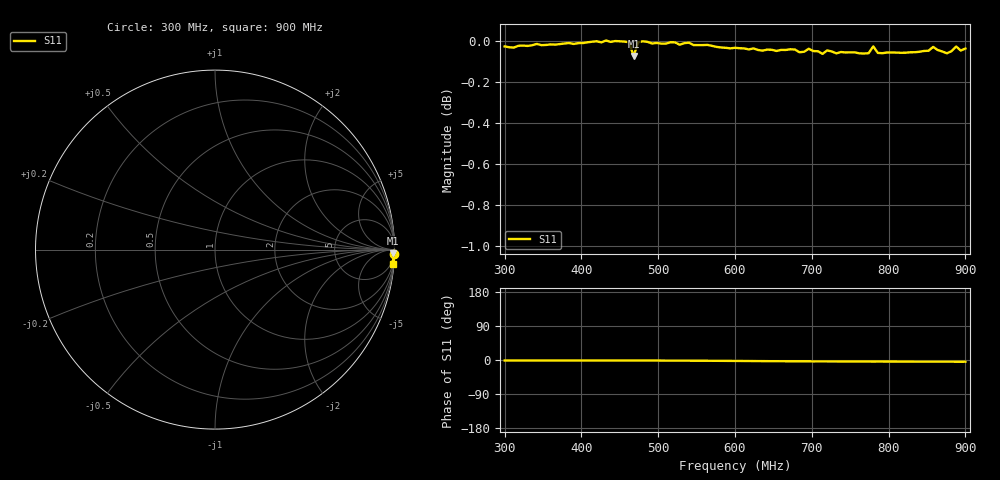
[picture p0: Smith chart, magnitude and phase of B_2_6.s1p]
# HZ S RI R 50
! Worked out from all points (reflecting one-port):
!   101 points, 300 MHz to 900 MHz, reference 50 ohm
!   lowest |S11| = -0.1 dB at 468 MHz (marker M1), VSWR 236.18, Z = 1.62e+03 - j4.06e+03 ohm
!   phase of S11 starts at -1 deg and turns -3 deg over the sweep
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3e8  0.9966 -0.0234
3.78e8  0.9982 -0.0208
4.5e8  0.9995 -0.0222
4.62e8  0.9989 -0.0232
4.68e8  0.9913 -0.021
4.74e8  0.9989 -0.0233
4.98e8  0.9985 -0.0249
5.28e8  0.9973 -0.0302
6e8  0.9952 -0.0425
6.48e8  0.9935 -0.0544
6.78e8  0.9934 -0.0588
6.84e8  0.9918 -0.06
6.96e8  0.9937 -0.0607
7.02e8  0.9922 -0.0644
7.14e8  0.9906 -0.0635
7.2e8  0.9925 -0.0644
7.5e8  0.9912 -0.0681
7.74e8  0.9906 -0.0702
7.8e8  0.9942 -0.073
7.86e8  0.9907 -0.0709
8.28e8  0.9909 -0.0732
8.52e8  0.9914 -0.0771
8.58e8  0.9936 -0.0761
8.76e8  0.9901 -0.0756
8.82e8  0.9913 -0.0756
8.88e8  0.9936 -0.0796
8.94e8  0.9914 -0.0786
9e8  0.9926 -0.0776
